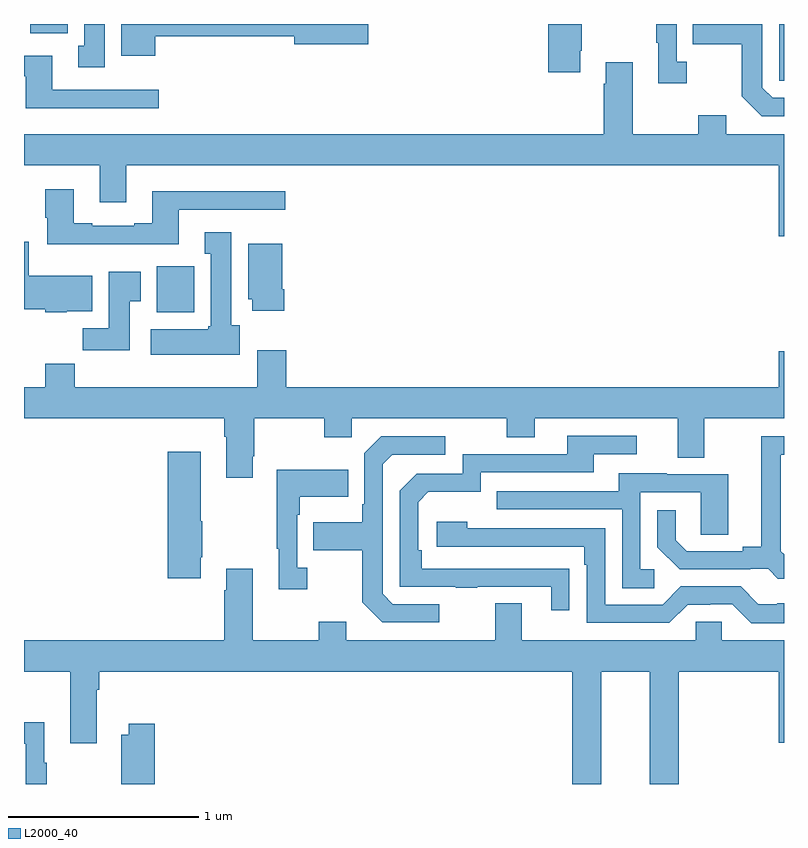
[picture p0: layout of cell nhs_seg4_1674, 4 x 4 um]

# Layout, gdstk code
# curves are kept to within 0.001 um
import gdstk
lib = gdstk.Library(unit=1e-6, precision=1e-09)
def R(c, l, rs):  # rectangles x0, y0, x1, y1
    for r in rs: c.add(gdstk.rectangle(r[:2], r[2:], *l))
def P(c, l, *ps):  # polygons
    for p in ps: c.add(gdstk.Polygon(p, *l))
L2000_40 = (2000, 40)

nhs_seg4_1674 = lib.new_cell('nhs_seg4_1674')
R(nhs_seg4_1674, L2000_40, [(197.699,793.382,197.896,793.624), (200.976,794.601,201,794.9), (197.033,794.852,197.23,794.9)])
P(nhs_seg4_1674, L2000_40, [(197.425,794.9),(197.318,794.9),(197.318,794.786),(197.285,794.786),(197.285,794.673),(197.425,794.673)],
  [(199.927,794.758),(199.935,794.758),(199.935,794.9),(199.76,794.9),(199.76,794.646),(199.927,794.646)],
  [(200.488,794.702),(200.436,794.702),(200.436,794.9),(200.328,794.9),(200.328,794.801),(200.339,794.801),(200.339,794.589),(200.488,794.589)],
  [(197.692,794.836),(198.422,794.836),(198.422,794.794),(198.811,794.794),(198.811,794.9),(197.513,794.9),(197.513,794.732),(197.692,794.732)],
  [(201,794.511),(200.94,794.511),(200.886,794.565),(200.886,794.9),(200.521,794.9),(200.521,794.794),(200.778,794.794),(200.778,794.521),(200.883,794.415),(201,794.415)],
  [(197.71,794.553),(197.149,794.553),(197.149,794.734),(197,794.734),(197,794.625),(197.009,794.625),(197.009,794.456),(197.71,794.456)],
  [(201,794.32),(200.695,794.32),(200.695,794.419),(200.548,794.419),(200.548,794.32),(200.203,794.32),(200.203,794.698),(200.063,794.698),(200.063,794.585),(200.051,794.585),(200.051,794.32),(197,794.32),(197,794.156),(197.399,794.156),(197.399,793.962),(197.539,793.962),(197.539,794.156),(200.972,794.156),(200.972,793.782),(201,793.782)],
  [(197.815,793.923),(198.376,793.923),(198.376,794.02),(197.675,794.02),(197.675,793.852),(197.579,793.852),(197.579,793.839),(197.359,793.839),(197.359,793.852),(197.263,793.852),(197.263,794.029),(197.111,794.029),(197.111,793.881),(197.123,793.881),(197.123,793.742),(197.815,793.742)],
  [(198.136,793.314),(198.091,793.314),(198.091,793.804),(197.951,793.804),(197.951,793.691),(197.984,793.691),(197.984,793.308),(197.971,793.308),(197.971,793.294),(197.667,793.294),(197.667,793.16),(198.136,793.16)],
  [(197.226,793.388),(197.359,793.388),(197.359,793.576),(197.026,793.576),(197.026,793.753),(197,793.753),(197,793.4),(197.112,793.4),(197.112,793.382),(197.226,793.382)],
  [(198.371,793.504),(198.358,793.504),(198.358,793.744),(198.179,793.744),(198.179,793.452),(198.2,793.452),(198.2,793.392),(198.371,793.392)],
  [(197.557,793.441),(197.614,793.441),(197.614,793.597),(197.447,793.597),(197.447,793.3),(197.308,793.3),(197.308,793.182),(197.557,793.182)],
  [(198.205,792.625),(198.213,792.625),(198.213,792.824),(198.58,792.824),(198.58,792.725),(198.726,792.725),(198.726,792.824),(199.54,792.824),(199.54,792.725),(199.687,792.725),(199.687,792.824),(200.441,792.824),(200.441,792.616),(200.581,792.616),(200.581,792.824),(201,792.824),(201,793.177),(200.972,793.177),(200.972,792.988),(198.38,792.988),(198.38,793.183),(198.227,793.183),(198.227,792.988),(197.267,792.988),(197.267,793.112),(197.111,793.112),(197.111,792.988),(197,792.988),(197,792.824),(198.053,792.824),(198.053,792.728),(198.065,792.728),(198.065,792.513),(198.205,792.513)],
  [(199.871,792.032),(199.094,792.033),(199.094,792.13),(199.074,792.13),(199.074,792.384),(199.127,792.437),(199.404,792.437),(199.404,792.54),(199.999,792.54),(199.999,792.636),(200.224,792.636),(200.224,792.732),(199.859,792.732),(199.859,792.636),(199.308,792.636),(199.308,792.534),(199.068,792.534),(198.978,792.444),(198.978,791.937),(199.273,791.937),(199.273,791.932),(199.385,791.932),(199.385,791.937),(199.775,791.937),(199.775,791.814),(199.871,791.814)],
  [(201,792.108),(200.983,792.125),(200.983,792.633),(201,792.633),(201,792.729),(200.879,792.729),(200.879,792.149),(200.783,792.149),(200.783,792.126),(200.488,792.126),(200.431,792.183),(200.431,792.34),(200.334,792.34),(200.334,792.146),(200.45,792.03),(200.822,792.03),(200.822,792.033),(200.916,792.033),(200.968,791.981),(201,791.981)],
  [(199.186,791.847),(198.942,791.847),(198.888,791.901),(198.888,792.582),(198.939,792.633),(199.216,792.633),(199.216,792.729),(198.879,792.729),(198.792,792.642),(198.792,792.373),(198.78,792.373),(198.78,792.277),(198.523,792.277),(198.523,792.13),(198.78,792.13),(198.78,791.857),(198.885,791.751),(199.186,791.751)],
  [(197.929,792.094),(197.937,792.094),(197.937,792.283),(197.929,792.283),(197.929,792.649),(197.756,792.649),(197.756,791.982),(197.929,791.982)],
  [(198.49,792.038),(198.438,792.038),(198.438,792.317),(198.451,792.317),(198.451,792.413),(198.707,792.413),(198.707,792.553),(198.33,792.553),(198.33,792.137),(198.341,792.137),(198.341,791.925),(198.49,791.925)],
  [(200.317,792.03),(200.244,792.03),(200.244,792.435),(200.562,792.435),(200.562,792.211),(200.707,792.211),(200.707,792.531),(200.383,792.531),(200.383,792.535),(200.129,792.535),(200.129,792.441),(199.489,792.441),(199.489,792.345),(200.148,792.345),(200.148,791.929),(200.317,791.929)],
  [(201,791.851),(200.965,791.851),(200.965,791.847),(200.865,791.847),(200.772,791.94),(200.457,791.94),(200.361,791.844),(200.058,791.844),(200.058,792.246),(199.334,792.246),(199.334,792.28),(199.173,792.28),(199.173,792.15),(199.949,792.15),(199.949,792.053),(199.962,792.053),(199.962,791.748),(200.397,791.748),(200.493,791.844),(200.612,791.844),(200.612,791.847),(200.727,791.847),(200.827,791.747),(201,791.747)],
  [(200.038,791.492),(200.294,791.492),(200.294,790.9),(200.447,790.9),(200.447,791.492),(200.972,791.492),(200.972,791.118),(201,791.118),(201,791.656),(200.673,791.656),(200.673,791.754),(200.535,791.754),(200.535,791.656),(199.621,791.656),(199.621,791.851),(199.481,791.851),(199.481,791.656),(198.697,791.656),(198.697,791.755),(198.55,791.755),(198.55,791.656),(198.205,791.656),(198.205,792.034),(198.065,792.034),(198.065,791.921),(198.053,791.921),(198.053,791.656),(197,791.656),(197,791.492),(197.243,791.492),(197.243,791.115),(197.383,791.115),(197.383,791.396),(197.396,791.396),(197.396,791.492),(199.886,791.492),(199.886,790.9),(200.038,790.9)],
  [(197.119,791.011),(197.107,791.011),(197.107,791.224),(197,791.224),(197,791.111),(197.01,791.111),(197.01,790.9),(197.119,790.9)],
  [(197.687,791.218),(197.552,791.218),(197.552,791.158),(197.512,791.158),(197.512,790.9),(197.687,790.9)])

lib.write_gds('nhs_seg4_1674.gds')
